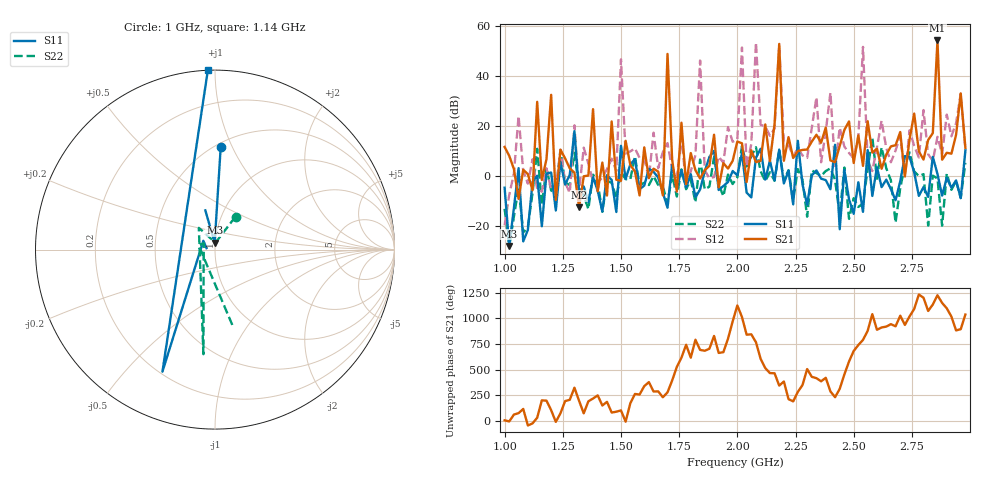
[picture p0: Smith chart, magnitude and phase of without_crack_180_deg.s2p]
# MHz S MA R 50
!  freq  S11  S21  S12  S22
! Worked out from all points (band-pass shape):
!   100 points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, 1 GHz to 2.98 GHz, reference 50 ohm
!   highest |S21| = 54.26 dB at 2.86 GHz (marker M1); lowest = -12.7 dB at 1.32 GHz (marker M2)
!   |S21| within 3 dB of the highest: 2.178995 GHz to 2.180689 GHz (1.694 MHz wide, 0.0777 % of centre); 2.858386 GHz to 2.861254 GHz (2.867 MHz wide, 0.1 % of centre)
!   lowest |S11| = -28.2 dB at 1.02 GHz (marker M3), VSWR 1.08, Z = 49.7 + j3.88 ohm
!   |S11| at or under -10 dB: 1.004 GHz to 1.044 GHz (39.26 MHz wide, 3.83 % of centre); 1.069 GHz to 1.112 GHz (43.41 MHz wide, 3.98 % of centre); 1.15 GHz to 1.17 GHz (19.92 MHz wide, 1.72 % of centre) (the widest 3 of 13)
!   |S22| runs from -28.3 to 15.4 dB; largest |S21 - S12| = 5.2e+02
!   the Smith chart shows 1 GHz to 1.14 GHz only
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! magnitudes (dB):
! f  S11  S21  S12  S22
! 1 GHz  -4.8  11.5  -19.9  -13.3
! 1.02 GHz  -28.2  7.9  -7.7  -28.3
! 1.32 GHz  -6.7  -12.7  -6.2  -5.0
! 1.34 GHz  -4.4  -0.2  11.2  -8.1
! 1.48 GHz  -14.6  -1.6  1.8  -8.9
! 1.5 GHz  12.0  -2.1  46.7  1.5
! 1.66 GHz  -0.7  1.6  3.0  -3.7
! 1.7 GHz  -12.9  48.9  13.0  -10.9
! 1.74 GHz  -4.9  -6.4  -0.6  -8.4
! 1.84 GHz  -5.5  -1.1  46.2  6.5
! 1.86 GHz  1.7  2.2  2.2  -5.5
! 2 GHz  0.1  13.7  14.6  -0.7
! 2.14 GHz  6.0  5.8  16.0  1.4
! 2.18 GHz  10.5  52.9  52.1  10.5
! 2.2 GHz  -3.1  6.0  13.6  -2.0
! 2.32 GHz  0.1  13.7  19.2  2.1
! 2.5 GHz  -15.3  5.1  6.9  -9.0
! 2.54 GHz  -14.5  3.9  51.7  -11.2
! 2.66 GHz  -5.4  11.8  5.4  -1.9
! 2.86 GHz  0.7  54.3  15.6  -1.1
! 2.88 GHz  -8.0  6.4  8.6  -20.1
! 2.98 GHz  10.1  11.2  10.4  5.1
